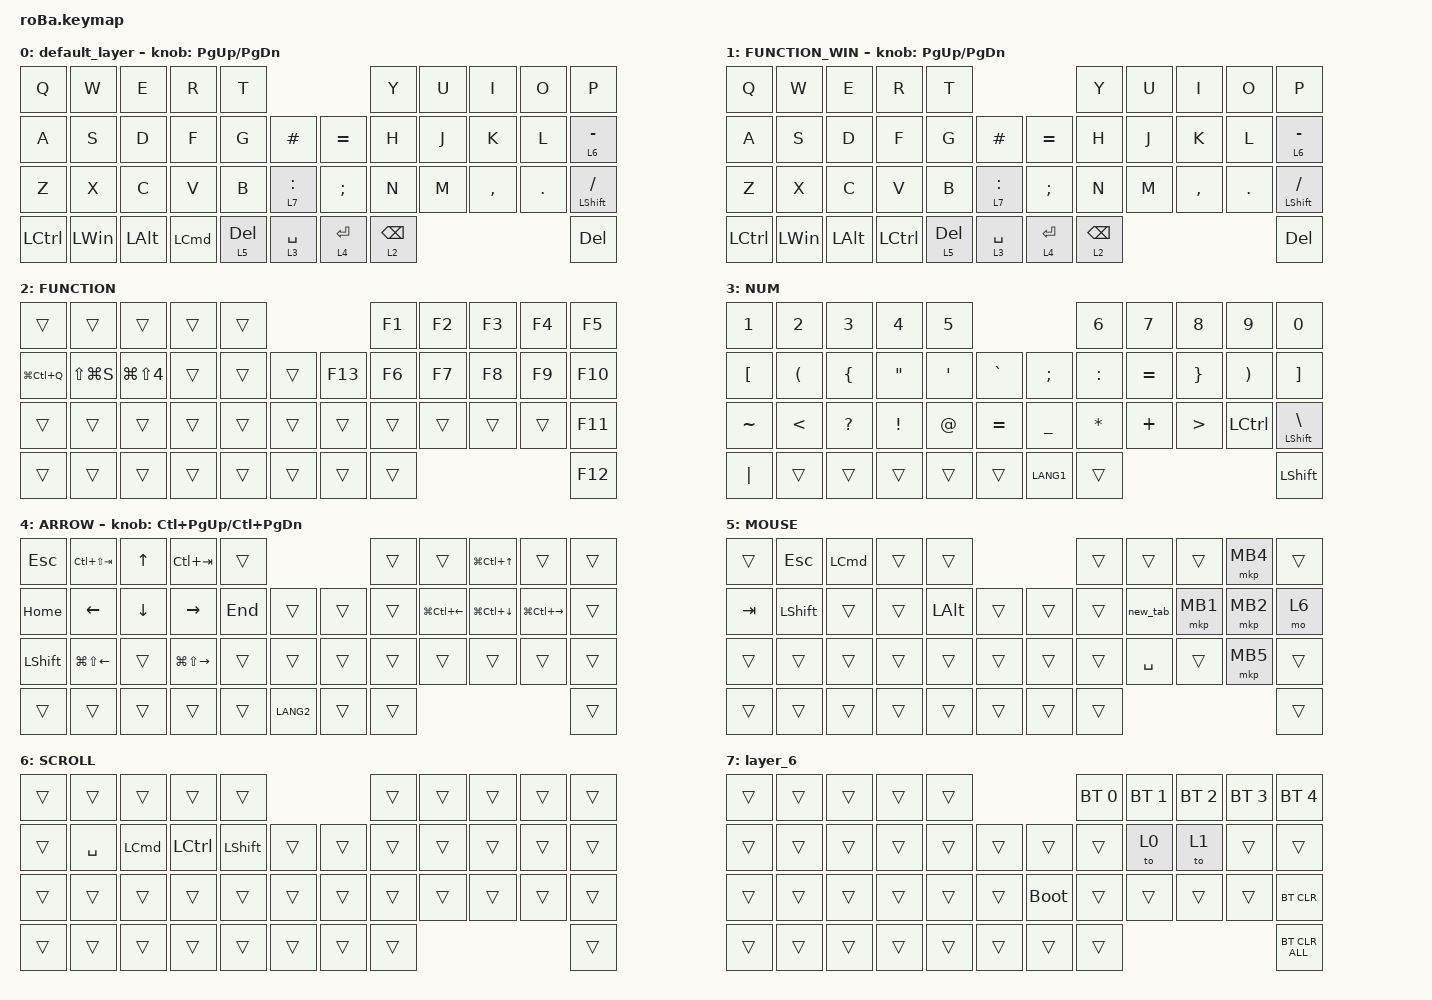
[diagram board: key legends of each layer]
#include <behaviors.dtsi>
#include <dt-bindings/zmk/bt.h>
#include <dt-bindings/zmk/keys.h>
#include <dt-bindings/zmk/pointing.h>

&mt {
    flavor = "balanced";
    quick-tap-ms = <0>;
};

&lt {
    flavor = "hold-preferred";
    tapping-term-ms = <150>;
    retro-tap;
};

&trackball {
    // automouse-layer = <4>;

    scroll-layers = <6>;

    // arrows {
    //     layers = <3>;
    //     bindings =
    //         <&kp RIGHT_ARROW>,
    //         <&kp LEFT_ARROW>,
    //         <&kp UP_ARROW>,
    //         <&kp DOWN_ARROW>;
    //     tick = <10>;
    //     wait-ms = <5>;
    //     tap-ms = <5>;
    // };
};

/ {
    combos { compatible = "zmk,combos"; };

    macros {
        new_tab: new_tab {
            compatible = "zmk,behavior-macro";
            #binding-cells = <0>;
            bindings =
                <&macro_press>,
                <&kp LEFT_COMMAND>,
                <&macro_tap>,
                <&mkp LCLK>,
                <&macro_release>,
                <&kp LEFT_COMMAND>;

            label = "NEW_TAB";
        };
    };

    keymap {
        compatible = "zmk,keymap";

        default_layer {
            bindings = <
&kp Q      &kp W         &kp E         &kp R             &kp T                                         &kp Y            &kp U  &kp I      &kp O    &kp P
&kp A      &kp S         &kp D         &kp F             &kp G         &kp HASH         &kp EQUAL      &kp H            &kp J  &kp K      &kp L    &lt 6 MINUS
&kp Z      &kp X         &kp C         &kp V             &kp B         &lt 7 COLON      &kp SEMICOLON  &kp N            &kp M  &kp COMMA  &kp DOT  &mt LEFT_SHIFT SLASH
&kp LCTRL  &kp LEFT_WIN  &kp LEFT_ALT  &kp LEFT_COMMAND  &lt 5 DELETE  &lt 3 SPACE      &lt 4 ENTER    &lt 2 BACKSPACE                             &kp DEL
            >;

            sensor-bindings = <&inc_dec_kp PG_UP PAGE_DOWN>;
        };

        FUNCTION_WIN {
            bindings = <
&kp Q      &kp W         &kp E         &kp R             &kp T                                         &kp Y            &kp U  &kp I      &kp O    &kp P
&kp A      &kp S         &kp D         &kp F             &kp G         &kp HASH         &kp EQUAL      &kp H            &kp J  &kp K      &kp L    &lt 6 MINUS
&kp Z      &kp X         &kp C         &kp V             &kp B         &lt 7 COLON      &kp SEMICOLON  &kp N            &kp M  &kp COMMA  &kp DOT  &mt LEFT_SHIFT SLASH
&kp LCTRL  &kp LEFT_WIN  &kp LEFT_ALT  &kp LEFT_CONTROL  &lt 5 DELETE  &lt 3 SPACE      &lt 4 ENTER    &lt 2 BACKSPACE                             &kp DEL
            >;

            sensor-bindings = <&inc_dec_kp PG_UP PAGE_DOWN>;
        };

        FUNCTION {
            bindings = <
&trans         &trans         &trans                &trans  &trans                       &kp F1  &kp F2  &kp F3  &kp F4  &kp F5
&kp LG(LC(Q))  &kp LS(LG(S))  &kp LG(LS(NUMBER_4))  &trans  &trans  &trans      &kp F13  &kp F6  &kp F7  &kp F8  &kp F9  &kp F10
&trans         &trans         &trans                &trans  &trans  &trans      &trans   &trans  &trans  &trans  &trans  &kp F11
&trans         &trans         &trans                &trans  &trans  &trans      &trans   &trans                          &kp F12
            >;
        };

        NUM {
            bindings = <
&kp N1            &kp NUMBER_2          &kp NUMBER_3    &kp NUMBER_4       &kp NUMBER_5                                   &kp NUMBER_6  &kp NUMBER_7  &kp NUMBER_8      &kp N9                 &kp N0
&kp LEFT_BRACKET  &kp LEFT_PARENTHESIS  &kp LEFT_BRACE  &kp DOUBLE_QUOTES  &kp APOSTROPHE  &kp GRAVE      &kp SEMICOLON   &kp COLON     &kp EQUAL     &kp RIGHT_BRACE   &kp RIGHT_PARENTHESIS  &kp RIGHT_BRACKET
&kp TILDE         &kp LESS_THAN         &kp QUESTION    &kp EXCLAMATION    &kp AT_SIGN     &kp EQUAL      &kp UNDERSCORE  &kp ASTERISK  &kp PLUS      &kp GREATER_THAN  &kp LCTRL              &mt LEFT_SHIFT BACKSLASH
&kp PIPE          &trans                &trans          &trans             &trans          &trans         &kp LANG1       &trans                                                               &kp LEFT_SHIFT
            >;
        };

        ARROW {
            bindings = <
&kp ESCAPE      &kp LC(LS(TAB))         &kp UP_ARROW    &kp LC(TAB)              &trans                          &trans  &trans            &kp LG(LC(UP))    &trans             &trans
&kp HOME        &kp LEFT_ARROW          &kp DOWN_ARROW  &kp RIGHT_ARROW          &kp END  &trans         &trans  &trans  &kp LG(LC(LEFT))  &kp LG(LC(DOWN))  &kp LG(LC(RIGHT))  &trans
&kp LEFT_SHIFT  &kp LG(LS(LEFT_ARROW))  &trans          &kp LG(LS(RIGHT_ARROW))  &trans   &trans         &trans  &trans  &trans            &trans            &trans             &trans
&trans          &trans                  &trans          &trans                   &trans   &kp LANG2      &trans  &trans                                                         &trans
            >;

            sensor-bindings = <&inc_dec_kp LC(PAGE_UP) LC(PAGE_DOWN)>;
        };

        MOUSE {
            bindings = <
&trans   &kp ESC         &kp LEFT_COMMAND  &trans  &trans                            &trans  &trans     &trans    &mkp MB4  &trans
&kp TAB  &kp LEFT_SHIFT  &trans            &trans  &kp LEFT_ALT  &trans      &trans  &trans  &new_tab   &mkp MB1  &mkp MB2  &mo 6
&trans   &trans          &trans            &trans  &trans        &trans      &trans  &trans  &kp SPACE  &trans    &mkp MB5  &trans
&trans   &trans          &trans            &trans  &trans        &trans      &trans  &trans                                 &trans
            >;
        };

        SCROLL {
            bindings = <
&trans  &trans     &trans            &trans            &trans                              &trans  &trans  &trans  &trans  &trans
&trans  &kp SPACE  &kp LEFT_COMMAND  &kp LEFT_CONTROL  &kp LEFT_SHIFT  &trans      &trans  &trans  &trans  &trans  &trans  &trans
&trans  &trans     &trans            &trans            &trans          &trans      &trans  &trans  &trans  &trans  &trans  &trans
&trans  &trans     &trans            &trans            &trans          &trans      &trans  &trans                          &trans
            >;
        };

        layer_6 {
            bindings = <
&trans  &trans  &trans  &trans  &trans                           &bt BT_SEL 0  &bt BT_SEL 1  &bt BT_SEL 2  &bt BT_SEL 3  &bt BT_SEL 4
&trans  &trans  &trans  &trans  &trans  &trans      &trans       &trans        &to 0         &to 1         &trans        &trans
&trans  &trans  &trans  &trans  &trans  &trans      &bootloader  &trans        &trans        &trans        &trans        &bt BT_CLR
&trans  &trans  &trans  &trans  &trans  &trans      &trans       &trans                                                  &bt BT_CLR_ALL
            >;
        };
    };
};
